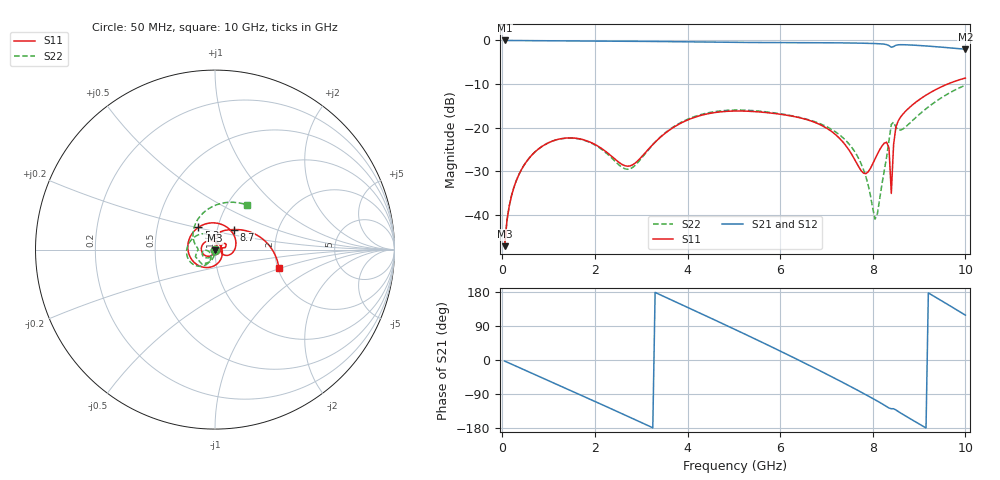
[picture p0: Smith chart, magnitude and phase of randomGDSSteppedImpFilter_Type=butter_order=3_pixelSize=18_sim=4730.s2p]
! freq	dB(S11)	phase(S11)	dB(S12)	phase(S12)
!  dB(S21)	phase(S21)	dB(S22)	phase(S22)
!S-par simulation data
#  GHz  S  DB  R 50
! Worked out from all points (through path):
!   200 points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, 50 MHz to 10 GHz, reference 50 ohm
!   highest |S21| = 0.00 dB at 50 MHz (marker M1); lowest = -2.0 dB at 10 GHz (marker M2)
!   group delay of S21, straight-line fit = 165 ps
!   lowest |S11| = -47.1 dB at 50 MHz (marker M3), VSWR 1.01, Z = 50 - j0.44 ohm
!   |S11| at or under -10 dB: start of sweep to 9.616 GHz
!   |S22| runs from -47.1 to -10.3 dB; largest |S21 - S12| = 0
!   S11 on the Smith chart (normalised r, x): 50 MHz: 1.00, -0.01; 5.3 GHz: 0.81, +0.20; 8.7 GHz: 1.20, +0.27; 10 GHz: 2.03, -0.49
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0.05  -47.12 -92.0  -0.00 -2.8  -0.00 -2.8  -47.12 -91.2
0.2  -35.53 -102.4  -0.02 -11.0  -0.02 -11.0  -35.52 -99.3
0.55  -27.36 -125.2  -0.05 -30.1  -0.05 -30.1  -27.35 -116.4
1.2  -22.67 -167.7  -0.10 -65.6  -0.10 -65.6  -22.68 -145.9
1.75  -22.74 152.9  -0.13 -95.6  -0.13 -95.6  -22.83 -167.1
2.7  -28.80 31.9  -0.18 -148.1  -0.18 -148.1  -29.51 -148.5
3.4  -22.30 -77.5  -0.26 172.7  -0.26 172.7  -22.25 -115.5
4.3  -17.14 -153.1  -0.39 121.9  -0.39 121.9  -16.94 -142.2
5.05  -16.16 147.6  -0.45 79.2  -0.45 79.2  -15.94 -168.7
5.3  -16.21 126.9  -0.46 64.8  -0.46 64.8  -16.00 -177.1
6.05  -16.97 63.0  -0.48 20.7  -0.48 20.7  -16.87 158.7
6.7  -18.57 10.8  -0.51 -18.6  -0.51 -18.6  -18.44 134.6
7.6  -27.09 -28.9  -0.60 -75.1  -0.60 -75.1  -25.31 85.4
7.85  -30.51 5.3  -0.65 -91.5  -0.65 -91.5  -31.16 62.2
8.05  -27.12 34.0  -0.71 -105.0  -0.71 -105.0  -40.93 -10.0
8.35  -24.63 11.2  -1.18 -126.7  -1.18 -126.7  -22.96 -109.8
8.4  -35.05 18.5  -1.56 -128.6  -1.56 -128.6  -19.27 -130.7
8.45  -23.80 93.7  -1.40 -128.6  -1.40 -128.6  -18.70 -160.1
8.5  -19.83 74.3  -1.10 -131.9  -1.10 -131.9  -19.89 -174.0
8.7  -16.30 47.0  -0.99 -147.2  -0.99 -147.2  -19.89 172.7
9.3  -11.60 14.9  -1.38 169.8  -1.38 169.8  -14.45 122.0
10  -8.62 -16.3  -2.01 118.3  -2.01 118.3  -10.27 54.1
